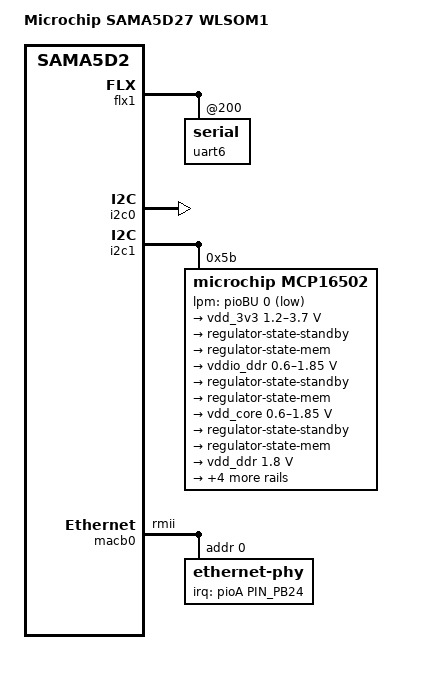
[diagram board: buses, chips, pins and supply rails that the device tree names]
// SPDX-License-Identifier: (GPL-2.0+ OR MIT)
/*
 * at91-sama5d27_wlsom1.dtsi - Device Tree file for SAMA5D27 WLSOM1
 *
 * Copyright (C) 2019 Microchip Technology Inc. and its subsidiaries
 *
 * Author: Nicolas Ferre <nicolas.ferre@microcihp.com>
 * Author: Eugen Hristev <eugen.hristev@microcihp.com>
 */
#include "sama5d2.dtsi"
#include "sama5d2-pinfunc.h"
#include <dt-bindings/gpio/gpio.h>
#include <dt-bindings/mfd/atmel-flexcom.h>
#include <dt-bindings/pinctrl/at91.h>

/ {
	model = "Microchip SAMA5D27 WLSOM1";
	compatible = "microchip,sama5d27-wlsom1", "atmel,sama5d27", "atmel,sama5d2", "atmel,sama5";

	aliases {
		i2c0 = &i2c0;
	};

	clocks {
		slow_xtal {
			clock-frequency = <32768>;
		};

		main_xtal {
			clock-frequency = <24000000>;
		};
	};
};

&flx1 {
	atmel,flexcom-mode = <ATMEL_FLEXCOM_MODE_USART>;

	uart6: serial@200 {
		pinctrl-0 = <&pinctrl_flx1_default>;
		pinctrl-names = "default";
	};
};

&i2c0 {
	pinctrl-0 = <&pinctrl_i2c0_default>;
	pinctrl-names = "default";
	status = "okay";
};

&i2c1 {
	dmas = <0>, <0>;
	pinctrl-names = "default";
	pinctrl-0 = <&pinctrl_i2c1_default>;
	status = "okay";

	mcp16502@5b {
		compatible = "microchip,mcp16502";
		reg = <0x5b>;
		status = "okay";
		lpm-gpios = <&pioBU 0 GPIO_ACTIVE_LOW>;

		regulators {
			vdd_3v3: VDD_IO {
				regulator-name = "VDD_IO";
				regulator-min-microvolt = <1200000>;
				regulator-max-microvolt = <3700000>;
				regulator-initial-mode = <2>;
				regulator-allowed-modes = <2>, <4>;
				regulator-always-on;

				regulator-state-standby {
					regulator-on-in-suspend;
					regulator-mode = <4>;
				};

				regulator-state-mem {
					regulator-off-in-suspend;
					regulator-mode = <4>;
				};
			};

			vddio_ddr: VDD_DDR {
				regulator-name = "VDD_DDR";
				regulator-min-microvolt = <600000>;
				regulator-max-microvolt = <1850000>;
				regulator-initial-mode = <2>;
				regulator-allowed-modes = <2>, <4>;
				regulator-always-on;

				regulator-state-standby {
					regulator-on-in-suspend;
					regulator-suspend-microvolt = <1200000>;
					regulator-changeable-in-suspend;
					regulator-mode = <4>;
				};

				regulator-state-mem {
					regulator-on-in-suspend;
					regulator-suspend-microvolt = <1200000>;
					regulator-changeable-in-suspend;
					regulator-mode = <4>;
				};
			};

			vdd_core: VDD_CORE {
				regulator-name = "VDD_CORE";
				regulator-min-microvolt = <600000>;
				regulator-max-microvolt = <1850000>;
				regulator-initial-mode = <2>;
				regulator-allowed-modes = <2>, <4>;
				regulator-always-on;

				regulator-state-standby {
					regulator-on-in-suspend;
					regulator-mode = <4>;
				};

				regulator-state-mem {
					regulator-off-in-suspend;
					regulator-mode = <4>;
				};
			};

			vdd_ddr: VDD_OTHER {
				regulator-name = "VDD_OTHER";
				regulator-min-microvolt = <1800000>;
				regulator-max-microvolt = <1800000>;
				regulator-initial-mode = <2>;
				regulator-allowed-modes = <2>, <4>;
				regulator-always-on;

				regulator-state-standby {
					regulator-on-in-suspend;
					regulator-suspend-microvolt = <1800000>;
					regulator-changeable-in-suspend;
					regulator-mode = <4>;
				};

				regulator-state-mem {
					regulator-on-in-suspend;
					regulator-suspend-microvolt = <1800000>;
					regulator-changeable-in-suspend;
					regulator-mode = <4>;
				};
			};

			LDO1 {
				regulator-name = "LDO1";
				regulator-min-microvolt = <1200000>;
				regulator-max-microvolt = <3700000>;
				regulator-always-on;

				regulator-state-standby {
					regulator-on-in-suspend;
				};

				regulator-state-mem {
					regulator-off-in-suspend;
				};
			};

			LDO2 {
				regulator-name = "LDO2";
				regulator-min-microvolt = <1200000>;
				regulator-max-microvolt = <3700000>;
				regulator-always-on;

				regulator-state-standby {
					regulator-on-in-suspend;
				};

				regulator-state-mem {
					regulator-off-in-suspend;
				};
			};
		};
	};
};

&macb0 {
	pinctrl-names = "default";
	pinctrl-0 = <&pinctrl_macb0_default>;
	phy-mode = "rmii";

	ethernet-phy@0 {
		reg = <0x0>;
		interrupt-parent = <&pioA>;
		interrupts = <PIN_PB24 IRQ_TYPE_LEVEL_LOW>;
		pinctrl-names = "default";
		pinctrl-0 = <&pinctrl_macb0_phy_irq>;
	};
};

&pmc {
	atmel,osc-bypass;
};

&qspi1 {
	pinctrl-names = "default";
	pinctrl-0 = <&pinctrl_qspi1_default>;
	status = "disabled";

	qspi1_flash: spi_flash@0 {
		#address-cells = <1>;
		#size-cells = <1>;
		compatible = "jedec,spi-nor";
		reg = <0>;
		spi-max-frequency = <80000000>;
		spi-rx-bus-width = <4>;
		spi-tx-bus-width = <4>;
		m25p,fast-read;
		status = "disabled";

		at91bootstrap@0 {
			label = "at91bootstrap";
			reg = <0x0 0x40000>;
		};

		bootloader@40000 {
			label = "bootloader";
			reg = <0x40000 0xc0000>;
		};

		bootloaderenvred@100000 {
			label = "bootloader env redundant";
			reg = <0x100000 0x40000>;
		};

		bootloaderenv@140000 {
			label = "bootloader env";
			reg = <0x140000 0x40000>;
		};

		dtb@180000 {
			label = "device tree";
			reg = <0x180000 0x80000>;
		};

		kernel@200000 {
			label = "kernel";
			reg = <0x200000 0x600000>;
		};
	};
};

&pioA {
	pinctrl_flx1_default: flx1_usart_default {
		pinmux = <PIN_PA24__FLEXCOM1_IO0>,
			 <PIN_PA23__FLEXCOM1_IO1>,
			 <PIN_PA25__FLEXCOM1_IO3>,
			 <PIN_PA26__FLEXCOM1_IO4>;
		bias-disable;
	};

	pinctrl_i2c0_default: i2c0_default {
		pinmux = <PIN_PD21__TWD0>,
			 <PIN_PD22__TWCK0>;
		bias-disable;
	};

	pinctrl_i2c1_default: i2c1_default {
		pinmux = <PIN_PD19__TWD1>,
			 <PIN_PD20__TWCK1>;
		bias-disable;
	};

	pinctrl_macb0_default: macb0_default {
		pinmux = <PIN_PB14__GTXCK>,
			 <PIN_PB15__GTXEN>,
			 <PIN_PB16__GRXDV>,
			 <PIN_PB17__GRXER>,
			 <PIN_PB18__GRX0>,
			 <PIN_PB19__GRX1>,
			 <PIN_PB20__GTX0>,
			 <PIN_PB21__GTX1>,
			 <PIN_PB22__GMDC>,
			 <PIN_PB23__GMDIO>;
		bias-disable;
	};

	pinctrl_macb0_phy_irq: macb0_phy_irq {
		pinmux = <PIN_PB24__GPIO>;
		bias-disable;
	};

	pinctrl_qspi1_default: qspi1_default {
		pinmux = <PIN_PB5__QSPI1_SCK>,
			 <PIN_PB6__QSPI1_CS>,
			 <PIN_PB7__QSPI1_IO0>,
			 <PIN_PB8__QSPI1_IO1>,
			 <PIN_PB9__QSPI1_IO2>,
			 <PIN_PB10__QSPI1_IO3>;
		bias-pull-up;
	};
};

